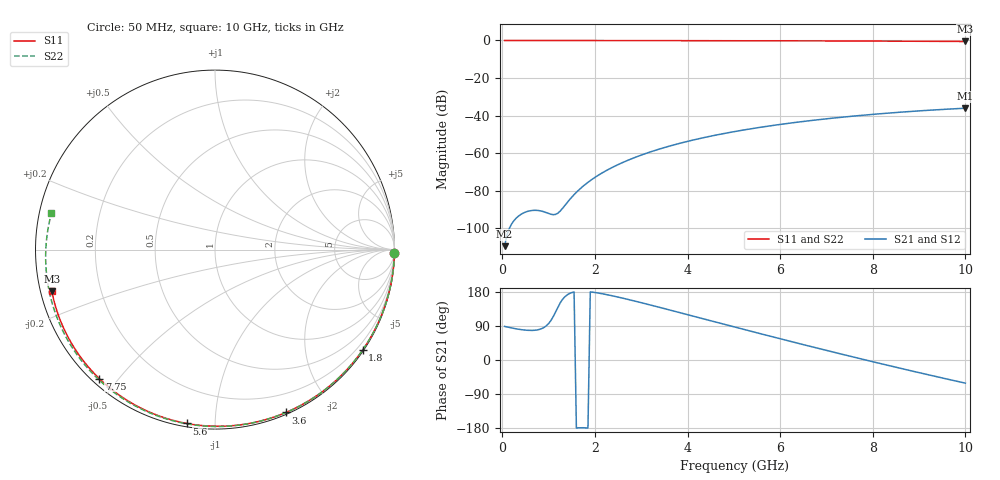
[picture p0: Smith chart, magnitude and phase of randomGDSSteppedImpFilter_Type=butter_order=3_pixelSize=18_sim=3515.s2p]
! freq	dB(S11)	phase(S11)	dB(S12)	phase(S12)
!  dB(S21)	phase(S21)	dB(S22)	phase(S22)
!S-par simulation data
#  GHz  S  DB  R 50
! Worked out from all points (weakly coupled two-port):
!   200 points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, 50 MHz to 10 GHz, reference 50 ohm
!   highest |S21| = -36.05 dB at 10 GHz (marker M1); lowest = -109.4 dB at 50 MHz (marker M2)
!   lowest |S11| = -0.6 dB at 10 GHz (marker M3), VSWR 31.52, Z = 1.61 - j6.29 ohm
!   |S11| at or under -10 dB: nowhere
!   |S22| runs from -0.6 to 0.0 dB; largest |S21 - S12| = 0
!   S11 on the Smith chart (normalised r, x): 50 MHz: open; 1.8 GHz: 0.03, -3.25; 3.6 GHz: 0.02, -1.53; 5.6 GHz: 0.02, -0.85; 7.75 GHz: 0.02, -0.45; 10 GHz: 0.03, -0.13
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0.05  -0.00 -1.0  -109.44 88.6  -109.44 88.6  -0.00 -1.1
0.4  -0.01 -7.7  -92.56 80.3  -92.56 80.3  -0.01 -9.0
0.8  -0.02 -15.4  -90.54 80.6  -90.54 80.6  -0.02 -17.9
1.6  -0.04 -30.5  -80.77 -179.5  -80.77 -179.5  -0.04 -35.5
1.65  -0.04 -31.4  -79.59 -178.9  -79.59 -178.9  -0.05 -36.5
1.75  -0.04 -33.3  -77.41 -178.8  -77.41 -178.8  -0.05 -38.7
1.8  -0.04 -34.2  -76.41 -179.1  -76.41 -179.1  -0.05 -39.8
2.1  -0.05 -39.7  -71.29 176.1  -71.29 176.1  -0.06 -46.2
2.5  -0.06 -47.0  -66.04 166.1  -66.04 166.1  -0.07 -54.5
2.9  -0.07 -54.2  -61.90 154.3  -61.90 154.3  -0.08 -62.8
3.4  -0.08 -63.0  -57.71 138.8  -57.71 138.8  -0.10 -72.8
3.6  -0.09 -66.4  -56.27 132.5  -56.27 132.5  -0.10 -76.8
4.3  -0.11 -78.3  -51.97 110.0  -51.97 110.0  -0.13 -90.3
5.05  -0.14 -90.5  -48.32 86.0  -48.32 86.0  -0.16 -104.2
5.6  -0.16 -99.3  -46.10 68.6  -46.10 68.6  -0.19 -114.2
6.15  -0.19 -107.8  -44.18 51.4  -44.18 51.4  -0.22 -123.9
6.7  -0.23 -116.2  -42.50 34.4  -42.50 34.4  -0.26 -133.5
7.25  -0.26 -124.4  -41.03 17.8  -41.03 17.8  -0.30 -143.1
7.75  -0.30 -131.9  -39.86 2.8  -39.86 2.8  -0.34 -151.8
8.35  -0.36 -140.8  -38.61 -14.8  -38.61 -14.8  -0.40 -162.3
9.2  -0.45 -153.4  -37.15 -39.1  -37.15 -39.1  -0.50 -177.6
10  -0.55 -165.6  -36.05 -61.1  -36.05 -61.1  -0.60 167.5
